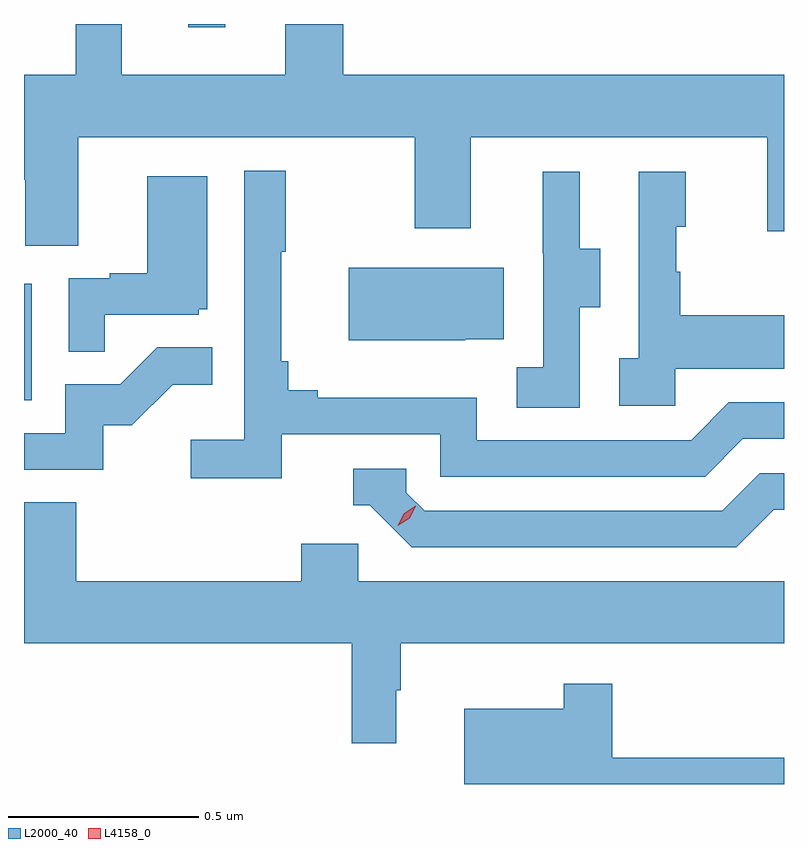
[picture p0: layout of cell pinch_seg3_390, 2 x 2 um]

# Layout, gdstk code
import gdstk
lib = gdstk.Library(unit=1e-6, precision=1e-09)
def R(c, l, rs):  # rectangles x0, y0, x1, y1
    for r in rs: c.add(gdstk.rectangle(r[:2], r[2:], *l))
def P(c, l, *ps):  # polygons
    for p in ps: c.add(gdstk.Polygon(p, *l))
L2000_40 = (2000, 40)
L4158_0 = (4158, 0)

pinch_seg3_390 = lib.new_cell('pinch_seg3_390')
R(pinch_seg3_390, L2000_40, [(997.52,688.236,997.54,688.543), (997.952,689.217,998.05,689.226)])
P(pinch_seg3_390, L2000_40, [(997.663,688.928),(998.548,688.928),(998.548,688.689),(998.695,688.689),(998.695,688.928),(999.476,688.928),(999.476,688.68),(999.52,688.68),(999.52,689.092),(998.36,689.092),(998.36,689.226),(998.207,689.226),(998.207,689.092),(997.777,689.092),(997.777,689.226),(997.656,689.226),(997.656,689.092),(997.52,689.092),(997.52,688.816),(997.523,688.816),(997.523,688.642),(997.663,688.642)],
  [(998.198,688.146),(998.616,688.146),(998.616,688.035),(999.313,688.035),(999.412,688.134),(999.52,688.134),(999.52,688.23),(999.375,688.23),(999.276,688.131),(998.712,688.131),(998.712,688.243),(998.293,688.243),(998.293,688.262),(998.216,688.262),(998.216,688.339),(998.197,688.339),(998.197,688.627),(998.209,688.627),(998.209,688.84),(998.1,688.84),(998.1,688.132),(997.959,688.132),(997.959,688.03),(998.198,688.03)],
  [(999.234,688.319),(999.52,688.319),(999.52,688.459),(999.247,688.459),(999.247,688.574),(999.237,688.574),(999.237,688.692),(999.262,688.692),(999.262,688.837),(999.138,688.837),(999.138,688.346),(999.087,688.346),(999.087,688.221),(999.234,688.221)],
  [(998.982,688.48),(999.037,688.48),(999.037,688.635),(998.983,688.635),(998.983,688.837),(998.885,688.837),(998.885,688.623),(998.886,688.623),(998.886,688.323),(998.817,688.323),(998.817,688.216),(998.982,688.216)],
  [(997.733,688.461),(997.98,688.461),(997.98,688.476),(998.002,688.476),(998.002,688.825),(997.844,688.825),(997.844,688.57),(997.745,688.57),(997.745,688.557),(997.638,688.557),(997.638,688.363),(997.733,688.363)],
  [(998.681,688.397),(998.783,688.397),(998.783,688.585),(998.375,688.585),(998.375,688.394),(998.681,688.394)],
  [(997.728,688.17),(997.804,688.17),(997.911,688.277),(998.015,688.277),(998.015,688.376),(997.871,688.376),(997.773,688.278),(997.629,688.278),(997.629,688.149),(997.52,688.149),(997.52,688.053),(997.728,688.053)],
  [(999.493,687.948),(999.52,687.948),(999.52,688.044),(999.456,688.044),(999.357,687.945),(998.574,687.945),(998.526,687.993),(998.526,688.056),(998.387,688.056),(998.387,687.96),(998.43,687.96),(998.541,687.849),(999.394,687.849)],
  [(998.5,687.473),(998.512,687.473),(998.512,687.596),(999.52,687.596),(999.52,687.76),(998.4,687.76),(998.4,687.858),(998.249,687.858),(998.249,687.76),(997.658,687.76),(997.658,687.968),(997.52,687.968),(997.52,687.596),(998.383,687.596),(998.383,687.333),(998.5,687.333)],
  [(999.52,687.295),(999.068,687.295),(999.068,687.49),(998.94,687.49),(998.94,687.424),(998.678,687.424),(998.678,687.226),(999.52,687.226)])
P(pinch_seg3_390, L4158_0, [(998.504,687.906),(998.504,687.906),(998.52,687.938),(998.551,687.958),(998.551,687.958),(998.551,687.957),(998.535,687.925),(998.504,687.906)])

lib.write_gds('pinch_seg3_390.gds')
